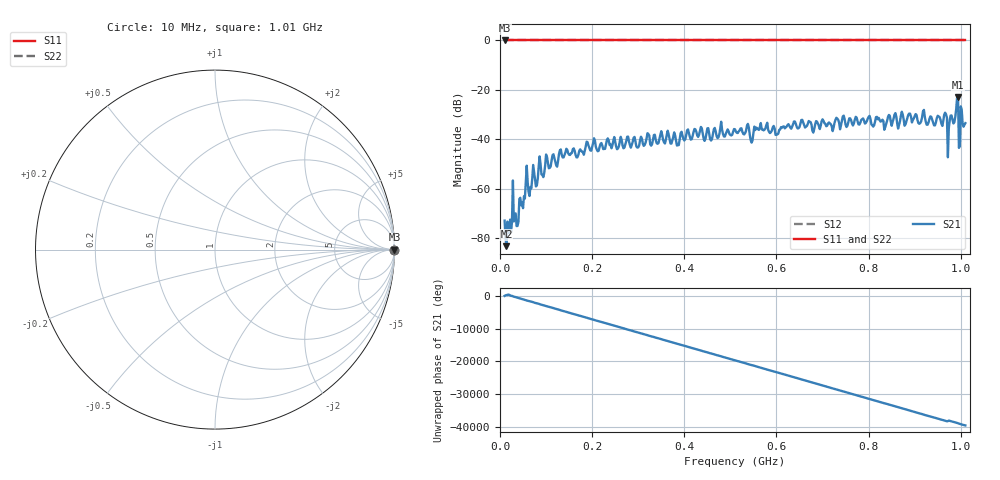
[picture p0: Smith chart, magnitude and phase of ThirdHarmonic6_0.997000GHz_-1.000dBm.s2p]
! 8/16/2025 7:59:46 AM
! C:\ANRITSUVNA\TEMP\TEMP.S2P
! CHANNEL.1
! TR.MEASUREMENT
! RAW.DATA
! RF.CORRECTION.OFF
! AVERAGING.OFF
! IF.BANDWIDTH: 5KHZ
! SWEEPTYPE:  FREQ.SWEEP(Linear)
! Reference Plane Port Info
! PORT:  PORT1  PORT2
! DISTANCE:  0  m  0  m
! TIME:  0  s  0  s
! PHASE.OFFSET:  0  deg.  0  deg.
! LOSS:  0  dB  0  dB
! REF.LOSS:  0  dB  0  dB
! REF.FREQ:  0  Hz  0  Hz
! Power Info
! POWER:  -20  dBm  -20  dBm
! EFF.POWER:  -20  dBm  -20  dBm
! SOURCE.ATTEN:  0  dB  0  dB
! TEST.ATTEN:  0  dB  0  dB
# GHZ S RI R 50.0
! FREQ.GHZ  S11RE  S11IM  S21RE  S21IM  S12RE  S12IM  S22RE  S22IM
!; PortSelection: Port_12
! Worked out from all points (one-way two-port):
!   501 points, 10 MHz to 1.01 GHz, reference 50 ohm
!   highest |S21| = -22.84 dB at 994 MHz (marker M1); lowest = -83.3 dB at 14 MHz (marker M2)
!   lowest |S11| = 0.0 dB at 10 MHz (marker M3)
!   |S11| at or under -10 dB: nowhere
!   |S22| runs from 0.0 to 0.0 dB; largest |S21 - S12| = 1.1
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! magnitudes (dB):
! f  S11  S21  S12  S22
! 10 MHz  0.0  -73.0  0.0  0.0
! 14 MHz  0.0  -83.3  0.0  0.0
! 30 MHz  0.0  -73.3  0.0  0.0
! 36 MHz  0.0  -75.2  0.0  0.0
! 56 MHz  0.0  -57.7  0.0  0.0
! 66 MHz  0.0  -59.4  0.0  0.0
! 86 MHz  0.0  -46.9  0.0  0.0
! 178 MHz  0.0  -45.1  0.0  0.0
! 204 MHz  0.0  -39.6  0.0  0.0
! 344 MHz  0.0  -41.6  0.0  0.0
! 510 MHz  0.0  -36.0  0.0  0.0
! 538 MHz  0.0  -33.8  0.0  0.0
! 546 MHz  0.0  -41.4  0.0  0.0
! 562 MHz  0.0  -36.2  0.0  0.0
! 678 MHz  0.0  -36.6  0.0  0.0
! 844 MHz  0.0  -30.2  0.0  0.0
! 942 MHz  0.0  -34.4  0.0  0.0
! 966 MHz  0.0  -29.3  0.0  0.0
! 974 MHz  0.0  -35.5  0.0  0.0
! 990 MHz  0.0  -27.9  0.0  0.0
! 994 MHz  0.0  -22.8  0.0  0.0
! 1.01 GHz  0.0  -33.5  0.0  0.0
